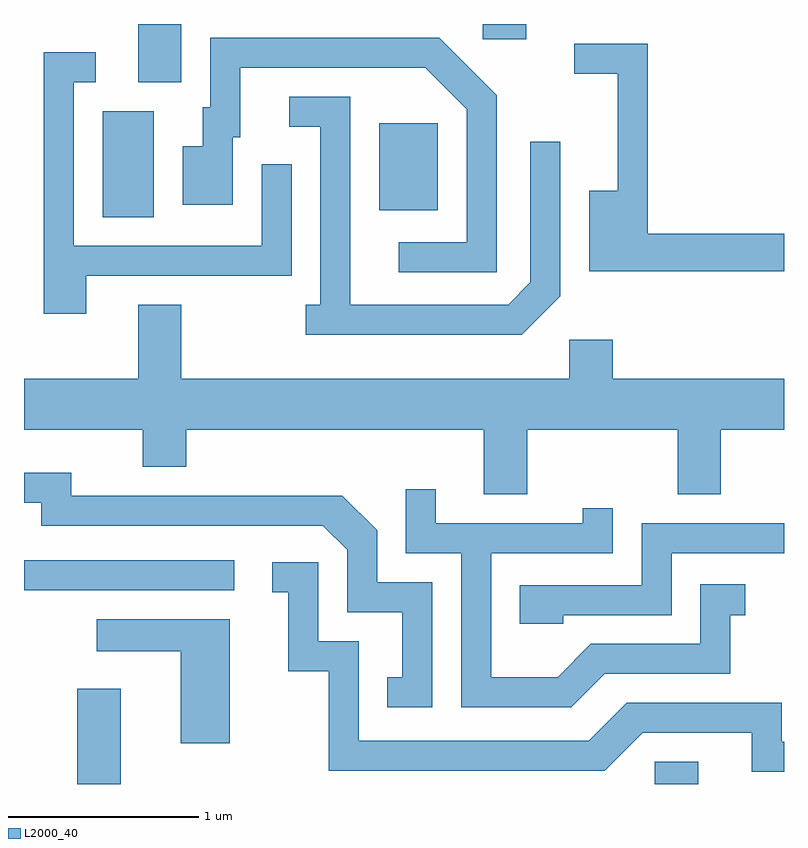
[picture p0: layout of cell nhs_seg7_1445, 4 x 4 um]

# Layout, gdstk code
import gdstk
lib = gdstk.Library(unit=1e-6, precision=1e-09)
def R(c, l, rs):  # rectangles x0, y0, x1, y1
    for r in rs: c.add(gdstk.rectangle(r[:2], r[2:], *l))
def P(c, l, *ps):  # polygons
    for p in ps: c.add(gdstk.Polygon(p, *l))
L2000_40 = (2000, 40)

nhs_seg7_1445 = lib.new_cell('nhs_seg7_1445')
R(nhs_seg7_1445, L2000_40, [(229.891,1690.252,230.119,1690.754), (232.931,1690.252,233.159,1690.369), (229.611,1691.271,230.718,1691.429), (230.026,1693.236,230.294,1693.794), (231.481,1693.271,231.789,1693.729), (230.211,1693.946,230.439,1694.252), (232.026,1694.171,232.254,1694.252)])
P(nhs_seg7_1445, L2000_40, [(232.099,1693.877),(231.797,1694.179),(230.591,1694.179),(230.591,1693.814),(230.551,1693.814),(230.551,1693.609),(230.446,1693.609),(230.446,1693.301),(230.709,1693.301),(230.709,1693.656),(230.749,1693.656),(230.749,1694.021),(231.724,1694.021),(231.941,1693.804),(231.941,1693.104),(231.583,1693.104),(231.583,1692.946),(232.099,1692.946)],
  [(233.611,1693.149),(232.894,1693.149),(232.894,1694.149),(232.508,1694.149),(232.508,1693.991),(232.736,1693.991),(232.736,1693.374),(232.586,1693.374),(232.586,1692.951),(233.611,1692.951)],
  [(229.939,1692.926),(231.019,1692.926),(231.019,1693.513),(230.861,1693.513),(230.861,1693.084),(229.874,1693.084),(229.874,1693.946),(229.988,1693.946),(229.988,1694.104),(229.716,1694.104),(229.716,1692.726),(229.939,1692.726)],
  [(232.434,1692.819),(232.434,1693.633),(232.276,1693.633),(232.276,1692.892),(232.159,1692.774),(231.329,1692.774),(231.329,1693.869),(231.008,1693.869),(231.008,1693.711),(231.171,1693.711),(231.171,1692.774),(231.093,1692.774),(231.093,1692.616),(232.232,1692.616)],
  [(232.259,1692.116),(233.051,1692.116),(233.051,1691.776),(233.279,1691.776),(233.279,1692.116),(233.611,1692.116),(233.611,1692.384),(232.709,1692.384),(232.709,1692.589),(232.481,1692.589),(232.481,1692.384),(230.439,1692.384),(230.439,1692.774),(230.211,1692.774),(230.211,1692.384),(229.611,1692.384),(229.611,1692.116),(230.236,1692.116),(230.236,1691.921),(230.464,1691.921),(230.464,1692.116),(232.031,1692.116),(232.031,1691.776),(232.259,1691.776)],
  [(231.759,1691.314),(231.469,1691.314),(231.469,1691.587),(231.287,1691.769),(229.859,1691.769),(229.859,1691.889),(229.611,1691.889),(229.611,1691.731),(229.701,1691.731),(229.701,1691.611),(231.184,1691.611),(231.311,1691.484),(231.311,1691.156),(231.601,1691.156),(231.601,1690.814),(231.523,1690.814),(231.523,1690.656),(231.759,1690.656)],
  [(232.667,1690.831),(233.329,1690.831),(233.329,1691.141),(233.408,1691.141),(233.408,1691.304),(233.171,1691.304),(233.171,1690.989),(232.594,1690.989),(232.419,1690.814),(232.069,1690.814),(232.069,1691.466),(232.709,1691.466),(232.709,1691.703),(232.551,1691.703),(232.551,1691.624),(231.779,1691.624),(231.779,1691.803),(231.621,1691.803),(231.621,1691.466),(231.911,1691.466),(231.911,1690.656),(232.492,1690.656)],
  [(232.449,1691.141),(233.019,1691.141),(233.019,1691.466),(233.611,1691.466),(233.611,1691.624),(232.861,1691.624),(232.861,1691.299),(232.221,1691.299),(232.221,1691.096),(232.449,1691.096)],
  [(233.611,1690.474),(233.599,1690.474),(233.599,1690.679),(232.784,1690.679),(232.584,1690.479),(231.374,1690.479),(231.374,1691.004),(231.159,1691.004),(231.159,1691.419),(230.918,1691.419),(230.918,1691.261),(231.001,1691.261),(231.001,1690.846),(231.216,1690.846),(231.216,1690.321),(232.667,1690.321),(232.867,1690.521),(233.441,1690.521),(233.441,1690.316),(233.611,1690.316)],
  [(230.694,1691.119),(229.993,1691.119),(229.993,1690.951),(230.436,1690.951),(230.436,1690.466),(230.694,1690.466)])

lib.write_gds('nhs_seg7_1445.gds')
